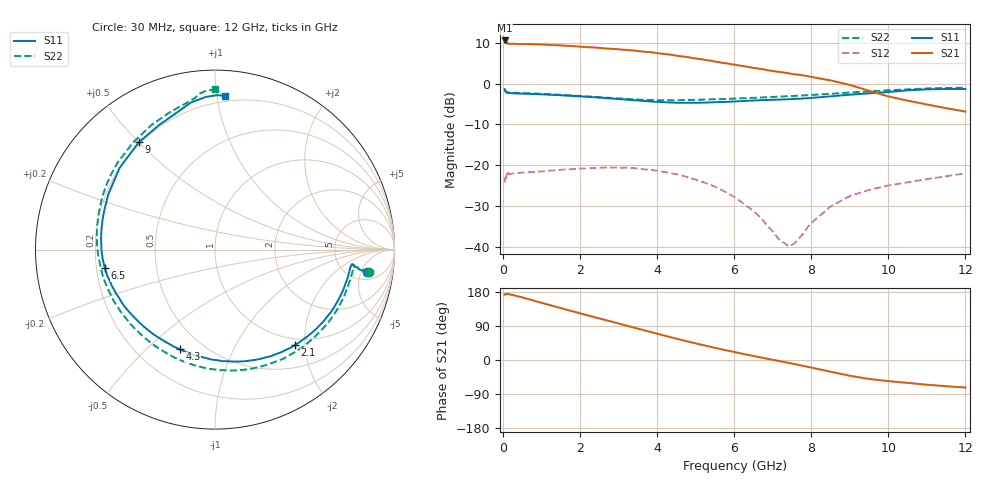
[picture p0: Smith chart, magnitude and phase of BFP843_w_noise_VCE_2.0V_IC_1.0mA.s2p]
! Infineon Technologies  Discrete & RF Semiconductors
! BFP843
! VCE =  2.0 V,  IC =  1.0 mA
! Common Emitter S-Parameters:  Aug 2013
# GHz  S  MA  R  50
!  f  S11  S21  S12  S22
! GHz  MAG  ANG  MAG  ANG  MAG  ANG  MAG  ANG
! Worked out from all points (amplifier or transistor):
!   103 points, 30 MHz to 12 GHz, reference 50 ohm
!   highest |S21| = 10.6 dB at 30 MHz (marker M1)
!   |S21| within 3 dB of that: start of sweep to 3.92 GHz
!   unconditionally stable (mu >= 1): 96.64 MHz to 1.451 GHz; 2.923 GHz to 11.77 GHz
!   at 400 MHz: K = 1.04, MAG = 14.6 dB, |S12| = -21.9 dB
!   at 3.7 GHz: K = 1.10, MAG = 12.5 dB, |S12| = -21.0 dB
!   at 12 GHz: K = 0.98, MSG = 7.6 dB, |S12| = -22.0 dB
!   lowest NFmin = 1.52 dB at 450 MHz
!   S11 on the Smith chart (normalised r, x): 30 MHz: 6.84, -6.41; 2.1 GHz: 0.88, -1.80; 4.3 GHz: 0.38, -0.64; 6.5 GHz: 0.23, -0.08; 9 GHz: 0.19, +0.50; 12 GHz: 0.16, +1.05
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0.03  0.8563 -8.4  3.387 172.5  0.0613 39.8  0.8672 -8.1
0.07  0.7869 -7.0  3.145 173.9  0.0703 20.7  0.8006 -7.1
0.13  0.7686 -6.2  3.117 174.1  0.0807 9.5  0.7804 -7.0
0.6  0.7514 -14.7  3.068 162.0  0.0823 0.8  0.7651 -19.7
1.1  0.7367 -26.0  3.012 147.8  0.0846 -2.6  0.7461 -35.4
1.6  0.7164 -37.9  2.921 133.8  0.0888 -7.3  0.7251 -51.3
2.1  0.694 -50.1  2.825 120.1  0.0911 -13.2  0.7014 -67.5
2.5  0.6739 -60.0  2.75 109.4  0.0932 -18.4  0.6829 -80.3
3.2  0.6372 -78.1  2.594 90.6  0.0934 -29.4  0.65 -103.3
3.8  0.6064 -94.8  2.44 74.5  0.0882 -40.1  0.6316 -123.1
4.1  0.5956 -103.5  2.337 66.5  0.084 -45.2  0.6266 -132.8
4.3  0.5885 -109.6  2.281 61.3  0.0809 -48.8  0.6275 -138.8
4.8  0.583 -125.2  2.111 48.6  0.0712 -58.0  0.6327 -152.8
5.2  0.5857 -137.2  1.976 39.0  0.0619 -64.4  0.6385 -162.9
6.1  0.6092 -160.8  1.676 18.8  0.0378 -75.4  0.6589 176.2
6.5  0.6224 -170.6  1.559 10.5  0.0273 -76.4  0.6705 167.8
7.4  0.6442 167.7  1.344 -7.5  0.0102 -24.2  0.7026 150.0
8.5  0.7 139.4  1.096 -31.0  0.0313 26.4  0.7513 127.4
9  0.7333 125.3  0.966 -41.6  0.0421 21.8  0.7795 117.0
9.5  0.7612 114.0  0.817 -50.1  0.0499 16.0  0.8063 108.1
10.5  0.8298 99.4  0.619 -60.4  0.0618 8.1  0.851 97.7
12  0.8596 86.4  0.455 -72.6  0.0795 -3.7  0.8924 89.9
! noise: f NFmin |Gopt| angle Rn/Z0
0.45  1.52  0.46  10  0.26
0.9  1.58  0.47  20  0.28
1.5  1.7  0.47  32  0.31
1.9  1.8  0.47  40  0.39
2.4  1.95  0.45  51  0.48
3.5  2.01  0.41  76  0.69
5.5  2.21  0.34  145  0.83
10  4.25  0.67  -90  0.89
